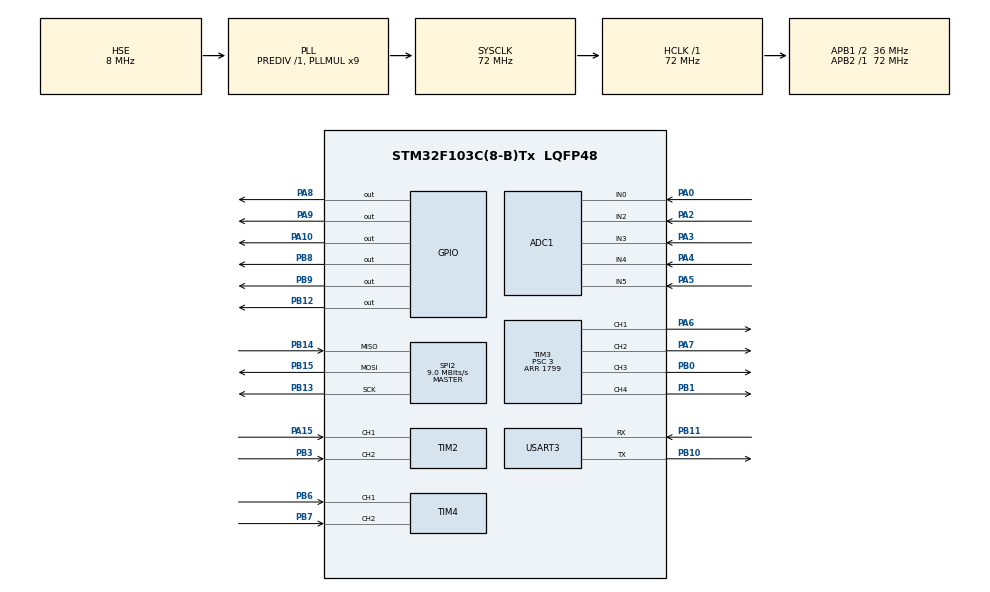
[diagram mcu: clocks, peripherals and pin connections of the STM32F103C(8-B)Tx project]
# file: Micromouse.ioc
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ADC1.Channel-5\#ChannelInjectedConversion=ADC_CHANNEL_2
ADC1.Channel-6\#ChannelInjectedConversion=ADC_CHANNEL_3
ADC1.Channel-7\#ChannelInjectedConversion=ADC_CHANNEL_4
ADC1.Channel-8\#ChannelInjectedConversion=ADC_CHANNEL_5
ADC1.Channel-9\#ChannelRegularConversion=ADC_CHANNEL_0
ADC1.ContinuousConvMode=DISABLE
ADC1.EnableInjectedConversion=ENABLE
ADC1.EnableRegularConversion=ENABLE
ADC1.InjNumberOfConversion=4
ADC1.InjectedOffset-5\#ChannelInjectedConversion=0
ADC1.InjectedOffset-6\#ChannelInjectedConversion=0
ADC1.InjectedOffset-7\#ChannelInjectedConversion=0
ADC1.InjectedOffset-8\#ChannelInjectedConversion=0
ADC1.InjectedRank-5\#ChannelInjectedConversion=1
ADC1.InjectedRank-6\#ChannelInjectedConversion=2
ADC1.InjectedRank-7\#ChannelInjectedConversion=3
ADC1.InjectedRank-8\#ChannelInjectedConversion=4
ADC1.NbrOfConversion=1
ADC1.NbrOfConversionFlag=1
ADC1.Rank-9\#ChannelRegularConversion=1
ADC1.SamplingTime-5\#ChannelInjectedConversion=ADC_SAMPLETIME_55CYCLES_5
ADC1.SamplingTime-6\#ChannelInjectedConversion=ADC_SAMPLETIME_55CYCLES_5
ADC1.SamplingTime-7\#ChannelInjectedConversion=ADC_SAMPLETIME_55CYCLES_5
ADC1.SamplingTime-8\#ChannelInjectedConversion=ADC_SAMPLETIME_55CYCLES_5
ADC1.SamplingTime-9\#ChannelRegularConversion=ADC_SAMPLETIME_239CYCLES_5
ADC1.master=1
Mcu.Family=STM32F1
Mcu.Name=STM32F103C(8-B)Tx
Mcu.Package=LQFP48
NVIC.PriorityGroup=NVIC_PRIORITYGROUP_4
NVIC.TIM1_UP_IRQn=true\:2\:0\:true\:false\:true\:true\:true\:true
PA0-WKUP.Signal=ADCx_IN0
PA10.Signal=GPIO_Output
PA13.Mode=Serial_Wire
PA13.Signal=SYS_JTMS-SWDIO
PA14.Mode=Serial_Wire
PA14.Signal=SYS_JTCK-SWCLK
PA15.GPIO_PuPd=GPIO_PULLUP
PA15.Signal=S_TIM2_CH1_ETR
PA2.Signal=ADCx_IN2
PA3.Signal=ADCx_IN3
PA4.Signal=ADCx_IN4
PA5.Signal=ADCx_IN5
PA6.Signal=S_TIM3_CH1
PA7.Signal=S_TIM3_CH2
PA8.Signal=GPIO_Output
PA9.Signal=GPIO_Output
PB0.Signal=S_TIM3_CH3
PB1.Signal=S_TIM3_CH4
PB10.Mode=Asynchronous
PB10.Signal=USART3_TX
PB11.Mode=Asynchronous
PB11.Signal=USART3_RX
PB12.Signal=GPIO_Output
PB13.Mode=Full_Duplex_Master
PB13.Signal=SPI2_SCK
PB14.Mode=Full_Duplex_Master
PB14.Signal=SPI2_MISO
PB15.Mode=Full_Duplex_Master
PB15.Signal=SPI2_MOSI
PB3.GPIO_PuPd=GPIO_PULLUP
PB3.Signal=S_TIM2_CH2
PB6.GPIO_PuPd=GPIO_PULLUP
PB6.Signal=S_TIM4_CH1
PB7.GPIO_PuPd=GPIO_PULLUP
PB7.Signal=S_TIM4_CH2
PB8.Signal=GPIO_Output
PB9.Signal=GPIO_Output
PD0-OSC_IN.Mode=HSE-External-Oscillator
PD0-OSC_IN.Signal=RCC_OSC_IN
PD1-OSC_OUT.Mode=HSE-External-Oscillator
PD1-OSC_OUT.Signal=RCC_OSC_OUT
ProjectManager.HeapSize=0x200
ProjectManager.StackSize=0x400
ProjectManager.TargetToolchain=MDK-ARM V5.32
RCC.ADCPresc=RCC_ADCPCLK2_DIV8
RCC.AHBFreq_Value=72000000
RCC.APB1CLKDivider=RCC_HCLK_DIV2
RCC.APB1Freq_Value=36000000
RCC.APB1TimFreq_Value=72000000
RCC.APB2Freq_Value=72000000
RCC.APB2TimFreq_Value=72000000
RCC.HCLKFreq_Value=72000000
RCC.PLLMUL=RCC_PLL_MUL9
RCC.PLLSourceVirtual=RCC_PLLSOURCE_HSE
RCC.SYSCLKFreq_VALUE=72000000
RCC.SYSCLKSource=RCC_SYSCLKSOURCE_PLLCLK
RCC.USBFreq_Value=72000000
SH.ADCx_IN0.0=ADC1_IN0,IN0
SH.ADCx_IN2.0=ADC1_IN2,IN2
SH.ADCx_IN3.0=ADC1_IN3,IN3
SH.ADCx_IN4.0=ADC1_IN4,IN4
SH.ADCx_IN5.0=ADC1_IN5,IN5
SH.S_TIM2_CH1_ETR.0=TIM2_CH1,Encoder_Interface
SH.S_TIM2_CH2.0=TIM2_CH2,Encoder_Interface
SH.S_TIM3_CH1.0=TIM3_CH1,PWM Generation1 CH1
SH.S_TIM3_CH2.0=TIM3_CH2,PWM Generation2 CH2
SH.S_TIM3_CH3.0=TIM3_CH3,PWM Generation3 CH3
SH.S_TIM3_CH4.0=TIM3_CH4,PWM Generation4 CH4
SH.S_TIM4_CH1.0=TIM4_CH1,Encoder_Interface
SH.S_TIM4_CH2.0=TIM4_CH2,Encoder_Interface
SPI2.BaudRatePrescaler=SPI_BAUDRATEPRESCALER_4
SPI2.CalculateBaudRate=9.0 MBits/s
SPI2.Direction=SPI_DIRECTION_2LINES
SPI2.Mode=SPI_MODE_MASTER
SPI2.VirtualType=VM_MASTER
TIM1.Period=89
TIM1.Prescaler=49
TIM2.EncoderMode=TIM_ENCODERMODE_TI12
TIM3.Channel-PWM\ Generation1\ CH1=TIM_CHANNEL_1
TIM3.Channel-PWM\ Generation2\ CH2=TIM_CHANNEL_2
TIM3.Channel-PWM\ Generation3\ CH3=TIM_CHANNEL_3
TIM3.Channel-PWM\ Generation4\ CH4=TIM_CHANNEL_4
TIM3.Period=1799
TIM3.Prescaler=3
TIM4.EncoderMode=TIM_ENCODERMODE_TI12
USART3.VirtualMode=VM_ASYNC
VP_TIM1_VS_ClockSourceINT.Mode=Internal
VP_TIM3_VS_ClockSourceINT.Mode=Internal
board=custom

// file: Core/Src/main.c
/* USER CODE BEGIN Header */
/**
  ******************************************************************************
  * @file           : main.c
  * @brief          : Main program body
  ******************************************************************************
  * @attention
  *
  * Copyright (c) 2026 STMicroelectronics.
  * All rights reserved.
  *
  * This software is licensed under terms that can be found in the LICENSE file
  * in the root directory of this software component.
  * If no LICENSE file comes with this software, it is provided AS-IS.
  *
  ******************************************************************************
  */
/* USER CODE END Header */
#include "main.h"

/* USER CODE BEGIN Includes */
#include "profile.h"
#include "encoder.h"
#include "gyro_6500.h"
#include "sensor.h"
#include "timer_interupt.h"
#include "stdint.h"
#include "motor.h"
#include "motion.h"
/* USER CODE END Includes */

ADC_HandleTypeDef hadc1;

SPI_HandleTypeDef hspi2;

TIM_HandleTypeDef htim1;
TIM_HandleTypeDef htim2;
TIM_HandleTypeDef htim3;
TIM_HandleTypeDef htim4;

UART_HandleTypeDef huart3;

/* USER CODE BEGIN PV */

int16_t left = 0;
int16_t right = 0;

extern Profile forward;
extern Profile rotation;

/* USER CODE END PV */

void SystemClock_Config(void);
static void MX_GPIO_Init(void);
static void MX_TIM3_Init(void);
static void MX_TIM1_Init(void);
static void MX_TIM2_Init(void);
static void MX_TIM4_Init(void);
static void MX_SPI2_Init(void);
static void MX_ADC1_Init(void);
static void MX_USART3_UART_Init(void);

/* USER CODE BEGIN 0 */

//PWM BEGIN

void HAL_SYSTICK_Callback(void)
{

    MPU_Update();
    Encoder_Update();
    Get_Sensor_Value();
    update_wall_sensor();                  // G?i 1 l?n d? c?p nh?t tr?ng thАi tu?ng

    Update(&forward);
    Update(&rotation);

    uint8_t wall_state = update_wall_sensor();
    update_motor_controllers(0);

}
volatile float poss= 0;
volatile float rott= 0;
volatile float dist = 0;

/* USER CODE END 0 */

int main(void)
{

  /* MCU Configuration--------------------------------------------------------*/

  /* Reset of all peripherals, Initializes the Flash interface and the Systick. */
  HAL_Init();

  /* Configure the system clock */
  SystemClock_Config();

  /* Initialize all configured peripherals */
  MX_GPIO_Init();
  MX_TIM3_Init();
  MX_TIM1_Init();
  MX_TIM2_Init();
  MX_TIM4_Init();
  MX_SPI2_Init();
  MX_ADC1_Init();
  MX_USART3_UART_Init();
  /* USER CODE BEGIN 2 */
	Motor_Init();
	Encoder_Init();
	MPU_Init();
	HAL_GPIO_WritePin(GPIOB, GPIO_PIN_12, 1);
	MPU_Calibrate();
	HAL_TIM_Base_Start_IT(&htim1);

//Start(&forward, 180, 700,0,800);

  /* USER CODE END 2 */

  /* Infinite loop */
  /* USER CODE BEGIN WHILE */

  while (1)
  {
    /* USER CODE END WHILE		*/
    move_forward(180, 700,0);
		turn_L_smooth();
		move_forward(180, 700,0);
		turn_L_smooth();
		move_forward(180, 700,0);
		turn_L_smooth();
		move_forward(180, 700,0);
		turn_L_smooth();

		break;
	}
   /*     USER CODE BEGIN 3 */
  }
  /* USER CODE END 3 */

void SystemClock_Config(void)
{
  RCC_OscInitTypeDef RCC_OscInitStruct = {0};
  RCC_ClkInitTypeDef RCC_ClkInitStruct = {0};
  RCC_PeriphCLKInitTypeDef PeriphClkInit = {0};

  /** Initializes the RCC Oscillators according to the specified parameters
  * in the RCC_OscInitTypeDef structure.
  */
  RCC_OscInitStruct.OscillatorType = RCC_OSCILLATORTYPE_HSE;
  RCC_OscInitStruct.HSEState = RCC_HSE_ON;
  RCC_OscInitStruct.HSEPredivValue = RCC_HSE_PREDIV_DIV1;
  RCC_OscInitStruct.HSIState = RCC_HSI_ON;
  RCC_OscInitStruct.PLL.PLLState = RCC_PLL_ON;
  RCC_OscInitStruct.PLL.PLLSource = RCC_PLLSOURCE_HSE;
  RCC_OscInitStruct.PLL.PLLMUL = RCC_PLL_MUL9;
  if (HAL_RCC_OscConfig(&RCC_OscInitStruct) != HAL_OK)
  {
    Error_Handler();
  }

  /** Initializes the CPU, AHB and APB buses clocks
  */
  RCC_ClkInitStruct.ClockType = RCC_CLOCKTYPE_HCLK|RCC_CLOCKTYPE_SYSCLK
                              |RCC_CLOCKTYPE_PCLK1|RCC_CLOCKTYPE_PCLK2;
  RCC_ClkInitStruct.SYSCLKSource = RCC_SYSCLKSOURCE_PLLCLK;
  RCC_ClkInitStruct.AHBCLKDivider = RCC_SYSCLK_DIV1;
  RCC_ClkInitStruct.APB1CLKDivider = RCC_HCLK_DIV2;
  RCC_ClkInitStruct.APB2CLKDivider = RCC_HCLK_DIV1;

  if (HAL_RCC_ClockConfig(&RCC_ClkInitStruct, FLASH_LATENCY_2) != HAL_OK)
  {
    Error_Handler();
  }
  PeriphClkInit.PeriphClockSelection = RCC_PERIPHCLK_ADC;
  PeriphClkInit.AdcClockSelection = RCC_ADCPCLK2_DIV8;
  if (HAL_RCCEx_PeriphCLKConfig(&PeriphClkInit) != HAL_OK)
  {
    Error_Handler();
  }
}

static void MX_ADC1_Init(void)
{

  ADC_InjectionConfTypeDef sConfigInjected = {0};
  ADC_ChannelConfTypeDef sConfig = {0};

  /** Common config
  */
  hadc1.Instance = ADC1;
  hadc1.Init.ScanConvMode = ADC_SCAN_ENABLE;
  hadc1.Init.ContinuousConvMode = DISABLE;
  hadc1.Init.DiscontinuousConvMode = DISABLE;
  hadc1.Init.ExternalTrigConv = ADC_SOFTWARE_START;
  hadc1.Init.DataAlign = ADC_DATAALIGN_RIGHT;
  hadc1.Init.NbrOfConversion = 1;
  if (HAL_ADC_Init(&hadc1) != HAL_OK)
  {
    Error_Handler();
  }

  /** Configure Injected Channel
  */
  sConfigInjected.InjectedChannel = ADC_CHANNEL_2;
  sConfigInjected.InjectedRank = ADC_INJECTED_RANK_1;
  sConfigInjected.InjectedNbrOfConversion = 4;
  sConfigInjected.InjectedSamplingTime = ADC_SAMPLETIME_55CYCLES_5;
  sConfigInjected.ExternalTrigInjecConv = ADC_INJECTED_SOFTWARE_START;
  sConfigInjected.AutoInjectedConv = DISABLE;
  sConfigInjected.InjectedDiscontinuousConvMode = DISABLE;
  sConfigInjected.InjectedOffset = 0;
  if (HAL_ADCEx_InjectedConfigChannel(&hadc1, &sConfigInjected) != HAL_OK)
  {
    Error_Handler();
  }

  /** Configure Injected Channel
  */
  sConfigInjected.InjectedChannel = ADC_CHANNEL_3;
  sConfigInjected.InjectedRank = ADC_INJECTED_RANK_2;
  if (HAL_ADCEx_InjectedConfigChannel(&hadc1, &sConfigInjected) != HAL_OK)
  {
    Error_Handler();
  }

  /** Configure Injected Channel
  */
  sConfigInjected.InjectedChannel = ADC_CHANNEL_4;
  sConfigInjected.InjectedRank = ADC_INJECTED_RANK_3;
  if (HAL_ADCEx_InjectedConfigChannel(&hadc1, &sConfigInjected) != HAL_OK)
  {
    Error_Handler();
  }

  /** Configure Injected Channel
  */
  sConfigInjected.InjectedChannel = ADC_CHANNEL_5;
  sConfigInjected.InjectedRank = ADC_INJECTED_RANK_4;
  if (HAL_ADCEx_InjectedConfigChannel(&hadc1, &sConfigInjected) != HAL_OK)
  {
    Error_Handler();
  }

  /** Configure Regular Channel
  */
  sConfig.Channel = ADC_CHANNEL_0;
  sConfig.Rank = ADC_REGULAR_RANK_1;
  sConfig.SamplingTime = ADC_SAMPLETIME_239CYCLES_5;
  if (HAL_ADC_ConfigChannel(&hadc1, &sConfig) != HAL_OK)
  {
    Error_Handler();
  }

}

static void MX_SPI2_Init(void)
{

  /* SPI2 parameter configuration*/
  hspi2.Instance = SPI2;
  hspi2.Init.Mode = SPI_MODE_MASTER;
  hspi2.Init.Direction = SPI_DIRECTION_2LINES;
  hspi2.Init.DataSize = SPI_DATASIZE_8BIT;
  hspi2.Init.CLKPolarity = SPI_POLARITY_LOW;
  hspi2.Init.CLKPhase = SPI_PHASE_1EDGE;
  hspi2.Init.NSS = SPI_NSS_SOFT;
  hspi2.Init.BaudRatePrescaler = SPI_BAUDRATEPRESCALER_4;
  hspi2.Init.FirstBit = SPI_FIRSTBIT_MSB;
  hspi2.Init.TIMode = SPI_TIMODE_DISABLE;
  hspi2.Init.CRCCalculation = SPI_CRCCALCULATION_DISABLE;
  hspi2.Init.CRCPolynomial = 10;
  if (HAL_SPI_Init(&hspi2) != HAL_OK)
  {
    Error_Handler();
  }

}

static void MX_TIM1_Init(void)
{

  TIM_ClockConfigTypeDef sClockSourceConfig = {0};
  TIM_MasterConfigTypeDef sMasterConfig = {0};

  htim1.Instance = TIM1;
  htim1.Init.Prescaler = 49;
  htim1.Init.CounterMode = TIM_COUNTERMODE_UP;
  htim1.Init.Period = 89;
  htim1.Init.ClockDivision = TIM_CLOCKDIVISION_DIV1;
  htim1.Init.RepetitionCounter = 0;
  htim1.Init.AutoReloadPreload = TIM_AUTORELOAD_PRELOAD_DISABLE;
  if (HAL_TIM_Base_Init(&htim1) != HAL_OK)
  {
    Error_Handler();
  }
  sClockSourceConfig.ClockSource = TIM_CLOCKSOURCE_INTERNAL;
  if (HAL_TIM_ConfigClockSource(&htim1, &sClockSourceConfig) != HAL_OK)
  {
    Error_Handler();
  }
  sMasterConfig.MasterOutputTrigger = TIM_TRGO_RESET;
  sMasterConfig.MasterSlaveMode = TIM_MASTERSLAVEMODE_DISABLE;
  if (HAL_TIMEx_MasterConfigSynchronization(&htim1, &sMasterConfig) != HAL_OK)
  {
    Error_Handler();
  }

}

static void MX_TIM2_Init(void)
{

  TIM_Encoder_InitTypeDef sConfig = {0};
  TIM_MasterConfigTypeDef sMasterConfig = {0};

  htim2.Instance = TIM2;
  htim2.Init.Prescaler = 0;
  htim2.Init.CounterMode = TIM_COUNTERMODE_UP;
  htim2.Init.Period = 65535;
  htim2.Init.ClockDivision = TIM_CLOCKDIVISION_DIV1;
  htim2.Init.AutoReloadPreload = TIM_AUTORELOAD_PRELOAD_DISABLE;
  sConfig.EncoderMode = TIM_ENCODERMODE_TI12;
  sConfig.IC1Polarity = TIM_ICPOLARITY_RISING;
  sConfig.IC1Selection = TIM_ICSELECTION_DIRECTTI;
  sConfig.IC1Prescaler = TIM_ICPSC_DIV1;
  sConfig.IC1Filter = 0;
  sConfig.IC2Polarity = TIM_ICPOLARITY_RISING;
  sConfig.IC2Selection = TIM_ICSELECTION_DIRECTTI;
  sConfig.IC2Prescaler = TIM_ICPSC_DIV1;
  sConfig.IC2Filter = 0;
  if (HAL_TIM_Encoder_Init(&htim2, &sConfig) != HAL_OK)
  {
    Error_Handler();
  }
  sMasterConfig.MasterOutputTrigger = TIM_TRGO_RESET;
  sMasterConfig.MasterSlaveMode = TIM_MASTERSLAVEMODE_DISABLE;
  if (HAL_TIMEx_MasterConfigSynchronization(&htim2, &sMasterConfig) != HAL_OK)
  {
    Error_Handler();
  }

}

static void MX_TIM3_Init(void)
{

  TIM_ClockConfigTypeDef sClockSourceConfig = {0};
  TIM_MasterConfigTypeDef sMasterConfig = {0};
  TIM_OC_InitTypeDef sConfigOC = {0};

  htim3.Instance = TIM3;
  htim3.Init.Prescaler = 3;
  htim3.Init.CounterMode = TIM_COUNTERMODE_UP;
  htim3.Init.Period = 1799;
  htim3.Init.ClockDivision = TIM_CLOCKDIVISION_DIV1;
  htim3.Init.AutoReloadPreload = TIM_AUTORELOAD_PRELOAD_DISABLE;
  if (HAL_TIM_Base_Init(&htim3) != HAL_OK)
  {
    Error_Handler();
  }
  sClockSourceConfig.ClockSource = TIM_CLOCKSOURCE_INTERNAL;
  if (HAL_TIM_ConfigClockSource(&htim3, &sClockSourceConfig) != HAL_OK)
  {
    Error_Handler();
  }
  if (HAL_TIM_PWM_Init(&htim3) != HAL_OK)
  {
    Error_Handler();
  }
  sMasterConfig.MasterOutputTrigger = TIM_TRGO_RESET;
  sMasterConfig.MasterSlaveMode = TIM_MASTERSLAVEMODE_DISABLE;
  if (HAL_TIMEx_MasterConfigSynchronization(&htim3, &sMasterConfig) != HAL_OK)
  {
    Error_Handler();
  }
  sConfigOC.OCMode = TIM_OCMODE_PWM1;
  sConfigOC.Pulse = 0;
  sConfigOC.OCPolarity = TIM_OCPOLARITY_HIGH;
  sConfigOC.OCFastMode = TIM_OCFAST_DISABLE;
  if (HAL_TIM_PWM_ConfigChannel(&htim3, &sConfigOC, TIM_CHANNEL_1) != HAL_OK)
  {
    Error_Handler();
  }
  if (HAL_TIM_PWM_ConfigChannel(&htim3, &sConfigOC, TIM_CHANNEL_2) != HAL_OK)
  {
    Error_Handler();
  }
  if (HAL_TIM_PWM_ConfigChannel(&htim3, &sConfigOC, TIM_CHANNEL_3) != HAL_OK)
  {
    Error_Handler();
  }
  if (HAL_TIM_PWM_ConfigChannel(&htim3, &sConfigOC, TIM_CHANNEL_4) != HAL_OK)
  {
    Error_Handler();
  }
  HAL_TIM_MspPostInit(&htim3);

}

static void MX_TIM4_Init(void)
{

  TIM_Encoder_InitTypeDef sConfig = {0};
  TIM_MasterConfigTypeDef sMasterConfig = {0};

  htim4.Instance = TIM4;
  htim4.Init.Prescaler = 0;
  htim4.Init.CounterMode = TIM_COUNTERMODE_UP;
  htim4.Init.Period = 65535;
  htim4.Init.ClockDivision = TIM_CLOCKDIVISION_DIV1;
  htim4.Init.AutoReloadPreload = TIM_AUTORELOAD_PRELOAD_DISABLE;
  sConfig.EncoderMode = TIM_ENCODERMODE_TI12;
  sConfig.IC1Polarity = TIM_ICPOLARITY_RISING;
  sConfig.IC1Selection = TIM_ICSELECTION_DIRECTTI;
  sConfig.IC1Prescaler = TIM_ICPSC_DIV1;
  sConfig.IC1Filter = 0;
  sConfig.IC2Polarity = TIM_ICPOLARITY_RISING;
  sConfig.IC2Selection = TIM_ICSELECTION_DIRECTTI;
  sConfig.IC2Prescaler = TIM_ICPSC_DIV1;
  sConfig.IC2Filter = 0;
  if (HAL_TIM_Encoder_Init(&htim4, &sConfig) != HAL_OK)
  {
    Error_Handler();
  }
  sMasterConfig.MasterOutputTrigger = TIM_TRGO_RESET;
  sMasterConfig.MasterSlaveMode = TIM_MASTERSLAVEMODE_DISABLE;
  if (HAL_TIMEx_MasterConfigSynchronization(&htim4, &sMasterConfig) != HAL_OK)
  {
    Error_Handler();
  }

}

static void MX_USART3_UART_Init(void)
{

  huart3.Instance = USART3;
  huart3.Init.BaudRate = 115200;
  huart3.Init.WordLength = UART_WORDLENGTH_8B;
  huart3.Init.StopBits = UART_STOPBITS_1;
  huart3.Init.Parity = UART_PARITY_NONE;
  huart3.Init.Mode = UART_MODE_TX_RX;
  huart3.Init.HwFlowCtl = UART_HWCONTROL_NONE;
  huart3.Init.OverSampling = UART_OVERSAMPLING_16;
  if (HAL_UART_Init(&huart3) != HAL_OK)
  {
    Error_Handler();
  }

}

static void MX_GPIO_Init(void)
{
  GPIO_InitTypeDef GPIO_InitStruct = {0};

  /* GPIO Ports Clock Enable */
  __HAL_RCC_GPIOD_CLK_ENABLE();
  __HAL_RCC_GPIOA_CLK_ENABLE();
  __HAL_RCC_GPIOB_CLK_ENABLE();

  /*Configure GPIO pin Output Level */
  HAL_GPIO_WritePin(GPIOB, GPIO_PIN_12|GPIO_PIN_8|GPIO_PIN_9, GPIO_PIN_RESET);

  /*Configure GPIO pin Output Level */
  HAL_GPIO_WritePin(GPIOA, GPIO_PIN_8|GPIO_PIN_9|GPIO_PIN_10, GPIO_PIN_RESET);

  /*Configure GPIO pins : PB12 PB8 PB9 */
  GPIO_InitStruct.Pin = GPIO_PIN_12|GPIO_PIN_8|GPIO_PIN_9;
  GPIO_InitStruct.Mode = GPIO_MODE_OUTPUT_PP;
  GPIO_InitStruct.Pull = GPIO_NOPULL;
  GPIO_InitStruct.Speed = GPIO_SPEED_FREQ_LOW;
  HAL_GPIO_Init(GPIOB, &GPIO_InitStruct);

  /*Configure GPIO pins : PA8 PA9 PA10 */
  GPIO_InitStruct.Pin = GPIO_PIN_8|GPIO_PIN_9|GPIO_PIN_10;
  GPIO_InitStruct.Mode = GPIO_MODE_OUTPUT_PP;
  GPIO_InitStruct.Pull = GPIO_NOPULL;
  GPIO_InitStruct.Speed = GPIO_SPEED_FREQ_LOW;
  HAL_GPIO_Init(GPIOA, &GPIO_InitStruct);

}

void Error_Handler(void)
{
  __disable_irq();
  while (1)
  {
  }
}
